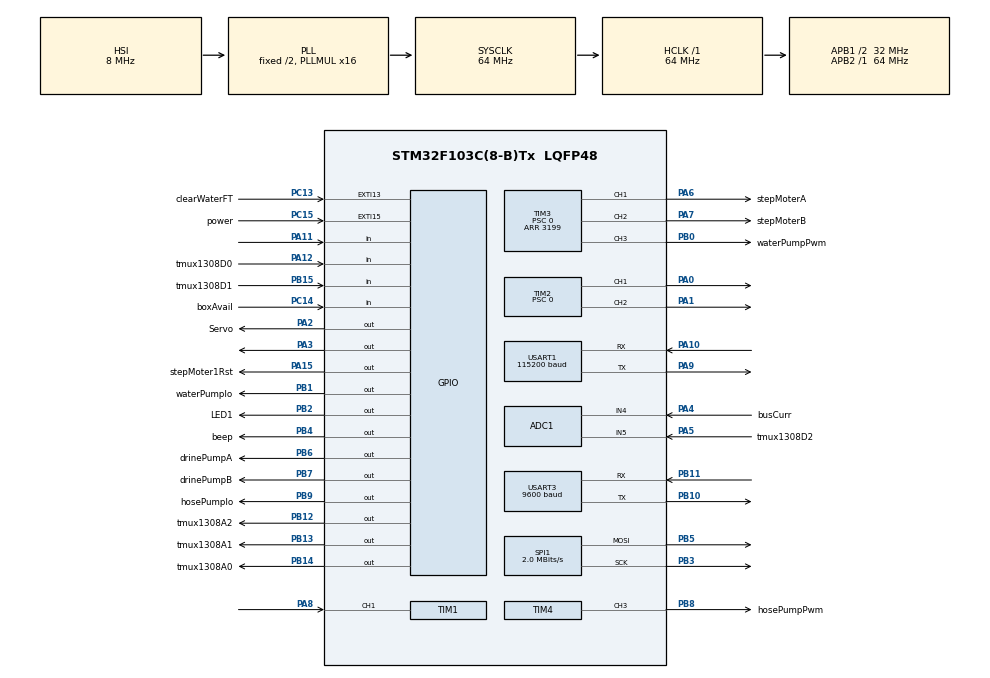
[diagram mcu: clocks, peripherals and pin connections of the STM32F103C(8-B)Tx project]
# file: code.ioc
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ADC1.Channel-1\#ChannelRegularConversion=ADC_CHANNEL_4
ADC1.Channel-3\#ChannelInjectedConversion=ADC_CHANNEL_5
ADC1.EnableInjectedConversion=ENABLE
ADC1.InjNumberOfConversion=1
ADC1.InjectedOffset-3\#ChannelInjectedConversion=0
ADC1.InjectedRank-3\#ChannelInjectedConversion=1
ADC1.NbrOfConversion=1
ADC1.NbrOfConversionFlag=1
ADC1.Rank-1\#ChannelRegularConversion=1
ADC1.SamplingTime-1\#ChannelRegularConversion=ADC_SAMPLETIME_239CYCLES_5
ADC1.SamplingTime-3\#ChannelInjectedConversion=ADC_SAMPLETIME_239CYCLES_5
ADC1.master=1
Dma.Request0=SPI1_TX
Dma.Request1=USART1_RX
Dma.SPI1_TX.0.Direction=DMA_MEMORY_TO_PERIPH
Dma.SPI1_TX.0.Instance=DMA1_Channel3
Dma.SPI1_TX.0.MemDataAlignment=DMA_MDATAALIGN_BYTE
Dma.SPI1_TX.0.MemInc=DMA_MINC_ENABLE
Dma.SPI1_TX.0.Mode=DMA_NORMAL
Dma.SPI1_TX.0.PeriphDataAlignment=DMA_PDATAALIGN_BYTE
Dma.SPI1_TX.0.PeriphInc=DMA_PINC_DISABLE
Dma.SPI1_TX.0.Priority=DMA_PRIORITY_LOW
Dma.USART1_RX.1.Direction=DMA_PERIPH_TO_MEMORY
Dma.USART1_RX.1.Instance=DMA1_Channel5
Dma.USART1_RX.1.MemDataAlignment=DMA_MDATAALIGN_BYTE
Dma.USART1_RX.1.MemInc=DMA_MINC_ENABLE
Dma.USART1_RX.1.Mode=DMA_NORMAL
Dma.USART1_RX.1.PeriphDataAlignment=DMA_PDATAALIGN_BYTE
Dma.USART1_RX.1.PeriphInc=DMA_PINC_DISABLE
Dma.USART1_RX.1.Priority=DMA_PRIORITY_LOW
Mcu.Family=STM32F1
Mcu.Name=STM32F103C(8-B)Tx
Mcu.Package=LQFP48
NVIC.DMA1_Channel3_IRQn=true\:0\:0\:false\:false\:true\:false\:true
NVIC.DMA1_Channel5_IRQn=true\:0\:0\:false\:false\:true\:false\:true
NVIC.EXTI15_10_IRQn=true\:6\:0\:true\:false\:true\:true\:true
NVIC.PriorityGroup=NVIC_PRIORITYGROUP_4
NVIC.TIM1_CC_IRQn=true\:7\:0\:true\:false\:true\:true\:true
NVIC.TIM2_IRQn=true\:4\:0\:true\:false\:true\:true\:true
NVIC.TIM3_IRQn=true\:5\:0\:true\:false\:true\:true\:true
NVIC.TIM4_IRQn=true\:0\:0\:false\:false\:true\:true\:true
NVIC.USART1_IRQn=true\:4\:0\:true\:false\:true\:true\:true
NVIC.USART3_IRQn=true\:0\:0\:false\:false\:true\:true\:true
PA0-WKUP.Signal=S_TIM2_CH1_ETR
PA1.Signal=S_TIM2_CH2
PA10.Mode=Asynchronous
PA10.Signal=USART1_RX
PA11.Signal=GPIO_Input
PA12.GPIO_Label=tmux1308D0
PA12.Signal=GPIO_Input
PA13.Mode=Serial_Wire
PA13.Signal=SYS_JTMS-SWDIO
PA14.Mode=Serial_Wire
PA14.Signal=SYS_JTCK-SWCLK
PA15.GPIO_Label=stepMoter1Rst
PA15.GPIO_Speed=GPIO_SPEED_FREQ_HIGH
PA15.PinState=GPIO_PIN_SET
PA15.Signal=GPIO_Output
PA2.GPIO_Label=Servo
PA2.GPIO_Speed=GPIO_SPEED_FREQ_HIGH
PA2.PinState=GPIO_PIN_SET
PA2.Signal=GPIO_Output
PA3.Signal=GPIO_Output
PA4.GPIO_Label=busCurr
PA4.Signal=ADCx_IN4
PA5.GPIO_Label=tmux1308D2
PA5.Signal=ADCx_IN5
PA6.GPIO_Label=stepMoterA
PA6.GPIO_Speed=GPIO_SPEED_FREQ_HIGH
PA6.Signal=S_TIM3_CH1
PA7.GPIO_Label=stepMoterB
PA7.GPIO_Speed=GPIO_SPEED_FREQ_HIGH
PA7.Signal=S_TIM3_CH2
PA8.Signal=S_TIM1_CH1
PA9.Mode=Asynchronous
PA9.Signal=USART1_TX
PB0.GPIO_Label=waterPumpPwm
PB0.Signal=S_TIM3_CH3
PB1.GPIO_Label=waterPumpIo
PB1.GPIO_Speed=GPIO_SPEED_FREQ_HIGH
PB1.PinState=GPIO_PIN_SET
PB1.Signal=GPIO_Output
PB10.Mode=Asynchronous
PB10.Signal=USART3_TX
PB11.Mode=Asynchronous
PB11.Signal=USART3_RX
PB12.GPIO_Label=tmux1308A2
PB12.GPIO_Speed=GPIO_SPEED_FREQ_HIGH
PB12.PinState=GPIO_PIN_SET
PB12.Signal=GPIO_Output
PB13.GPIO_Label=tmux1308A1
PB13.GPIO_Speed=GPIO_SPEED_FREQ_HIGH
PB13.PinState=GPIO_PIN_SET
PB13.Signal=GPIO_Output
PB14.GPIO_Label=tmux1308A0
PB14.GPIO_Speed=GPIO_SPEED_FREQ_HIGH
PB14.PinState=GPIO_PIN_SET
PB14.Signal=GPIO_Output
PB15.GPIO_Label=tmux1308D1
PB15.Signal=GPIO_Input
PB2.GPIO_Label=LED1
PB2.GPIO_Speed=GPIO_SPEED_FREQ_HIGH
PB2.PinState=GPIO_PIN_SET
PB2.Signal=GPIO_Output
PB3.Mode=TX_Only_Simplex_Unidirect_Master
PB3.Signal=SPI1_SCK
PB4.GPIO_Label=beep
PB4.GPIO_ModeDefaultOutputPP=GPIO_MODE_OUTPUT_PP
PB4.GPIO_Speed=GPIO_SPEED_FREQ_HIGH
PB4.PinState=GPIO_PIN_SET
PB4.Signal=GPIO_Output
PB5.Mode=TX_Only_Simplex_Unidirect_Master
PB5.Signal=SPI1_MOSI
PB6.GPIO_Label=drinePumpA
PB6.GPIO_Speed=GPIO_SPEED_FREQ_HIGH
PB6.PinState=GPIO_PIN_SET
PB6.Signal=GPIO_Output
PB7.GPIO_Label=drinePumpB
PB7.GPIO_Speed=GPIO_SPEED_FREQ_HIGH
PB7.PinState=GPIO_PIN_SET
PB7.Signal=GPIO_Output
PB8.GPIO_Label=hosePumpPwm
PB8.GPIO_Speed=GPIO_SPEED_FREQ_HIGH
PB8.Signal=S_TIM4_CH3
PB9.GPIO_Label=hosePumpIo
PB9.GPIO_Speed=GPIO_SPEED_FREQ_HIGH
PB9.PinState=GPIO_PIN_SET
PB9.Signal=GPIO_Output
PC13-TAMPER-RTC.GPIO_Label=clearWaterFT
PC13-TAMPER-RTC.Signal=GPXTI13
PC14-OSC32_IN.GPIO_Label=boxAvail
PC14-OSC32_IN.Signal=GPIO_Input
PC15-OSC32_OUT.GPIO_Label=power
PC15-OSC32_OUT.Signal=GPXTI15
ProjectManager.HeapSize=0x200
ProjectManager.StackSize=0x400
ProjectManager.TargetToolchain=MDK-ARM V5.27
RCC.ADCPresc=RCC_ADCPCLK2_DIV6
RCC.AHBFreq_Value=64000000
RCC.APB1CLKDivider=RCC_HCLK_DIV2
RCC.APB1Freq_Value=32000000
RCC.APB1TimFreq_Value=64000000
RCC.APB2Freq_Value=64000000
RCC.APB2TimFreq_Value=64000000
RCC.HCLKFreq_Value=64000000
RCC.PLLMUL=RCC_PLL_MUL16
RCC.SYSCLKFreq_VALUE=64000000
RCC.SYSCLKSource=RCC_SYSCLKSOURCE_PLLCLK
RCC.USBFreq_Value=64000000
SH.ADCx_IN4.0=ADC1_IN4,IN4
SH.ADCx_IN5.0=ADC1_IN5,IN5
SH.S_TIM1_CH1.0=TIM1_CH1,Input_Capture1_from_TI1
SH.S_TIM2_CH1_ETR.0=TIM2_CH1,PWM Generation1 CH1
SH.S_TIM2_CH2.0=TIM2_CH2,PWM Generation2 CH2
SH.S_TIM3_CH1.0=TIM3_CH1,PWM Generation1 CH1
SH.S_TIM3_CH2.0=TIM3_CH2,PWM Generation2 CH2
SH.S_TIM3_CH3.0=TIM3_CH3,PWM Generation3 CH3
SH.S_TIM4_CH3.0=TIM4_CH3,PWM Generation3 CH3
SPI1.BaudRatePrescaler=SPI_BAUDRATEPRESCALER_32
SPI1.CalculateBaudRate=2.0 MBits/s
SPI1.Direction=SPI_DIRECTION_2LINES
SPI1.Mode=SPI_MODE_MASTER
SPI1.VirtualType=VM_MASTER
TIM1.Channel-Input_Capture1_from_TI1=TIM_CHANNEL_1
TIM1.ICFilter_CH1=4
TIM2.AutoReloadPreload=TIM_AUTORELOAD_PRELOAD_ENABLE
TIM2.Channel-PWM\ Generation1\ CH1=TIM_CHANNEL_1
TIM2.Channel-PWM\ Generation2\ CH2=TIM_CHANNEL_2
TIM2.Period=3199
TIM2.Prescaler=0
TIM3.Channel-PWM\ Generation1\ CH1=TIM_CHANNEL_1
TIM3.Channel-PWM\ Generation2\ CH2=TIM_CHANNEL_2
TIM3.Channel-PWM\ Generation3\ CH3=TIM_CHANNEL_3
TIM3.Period=3199
TIM3.Prescaler=0
TIM4.Channel-PWM\ Generation3\ CH3=TIM_CHANNEL_3
TIM4.Period=100-1
TIM4.Prescaler=64-1
USART1.BaudRate=115200
USART1.VirtualMode=VM_ASYNC
USART3.BaudRate=9600
USART3.VirtualMode=VM_ASYNC
VP_CRC_VS_CRC.Mode=CRC_Activate
VP_TIM1_VS_ClockSourceINT.Mode=Internal
VP_TIM2_VS_ClockSourceINT.Mode=Internal
VP_TIM3_VS_ClockSourceINT.Mode=Internal
VP_TIM4_VS_ClockSourceINT.Mode=Internal
board=custom

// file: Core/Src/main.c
/* USER CODE BEGIN Header */
/**
  ******************************************************************************
  * @file           : main.c
  * @brief          : Main program body
  ******************************************************************************
  * @attention
  *
  * <h2><center>&copy; Copyright (c) 2026 STMicroelectronics.
  * All rights reserved.</center></h2>
  *
  * This software component is licensed by ST under BSD 3-Clause license,
  * the "License"; You may not use this file except in compliance with the
  * License. You may obtain a copy of the License at:
  *                        opensource.org/licenses/BSD-3-Clause
  *
  ******************************************************************************
  */
/* USER CODE END Header */
#include "main.h"
#include "adc.h"
#include "crc.h"
#include "dma.h"
#include "spi.h"
#include "tim.h"
#include "usart.h"
#include "gpio.h"

/* USER CODE BEGIN Includes */
#include "AT8236.h"
#include "ws2812.h"
#include "tmux1308.h"
#include "Current.h"
#include "BusVol.h"
#include "Tempurature.h"
#include "stepMoter.h"
#include "StepperPulse57_8412.h"
#include "uln2803.h"
#include "memoryPool.h"
#include "PulseTurns.h"
#include "taskScheme.h"
#include "crc16.h"
#include "string.h"
#include "stdio.h"
#include "servo.h"
#include "led.h"
#include "moveFilter.h"
/* USER CODE END Includes */

/* USER CODE BEGIN PTD */

volatile	uint32_t timeTick=0;
volatile  uint32_t task1msTick=0;
volatile  uint32_t task10msTick=0;
volatile  uint32_t task30msTick=0;
volatile  uint32_t task50msTick=0;
volatile  uint32_t task200msTick=0;
volatile  uint32_t task1000msTick=0;
volatile 	float current;
volatile 	float busvol;
volatile 	float temper;
volatile 	float testTurns;

extern uint8_t highBroadOrder[2];
extern uint8_t lowBroadOrder[6];
extern uint8_t recDateBuffer[10];

static void parseParam(uint8_t *data, CommandParam_t *param);

extern uint8_t recDate[10];

/* USER CODE END PTD */

/* USER CODE BEGIN PM */
//uint8_t  testDate[]={0x34,0x45,0x56,0x23,0x34,0x45,0x56,0x23,0x34,0x45,0x56,0x23};

static void task1ms(void);
static void task10ms(void);
static void task30ms(void);
static void task50ms(void);
static void task200ms(void);
static void task1000ms(void);
static void highVolBroadDateReTrans(void);
int ishighVolData=0;
/* USER CODE END PM */

void SystemClock_Config(void);

int main(void)
{

  /* MCU Configuration--------------------------------------------------------*/

  /* Reset of all peripherals, Initializes the Flash interface and the Systick. */
  HAL_Init();

  /* Configure the system clock */
  SystemClock_Config();

  /* Initialize all configured peripherals */
  MX_GPIO_Init();
  MX_USART1_UART_Init();
  MX_ADC1_Init();
  MX_SPI1_Init();
  MX_TIM1_Init();
  MX_TIM3_Init();
  MX_TIM4_Init();
  MX_USART3_UART_Init();
  MX_DMA_Init();
  MX_TIM2_Init();
  MX_CRC_Init();
  /* USER CODE BEGIN 2 */

	if (HAL_SYSTICK_Config(SystemCoreClock / 1000) != HAL_OK)
	{
			Error_Handler();
	}
	HAL_NVIC_SetPriority(SysTick_IRQn, 0, 0);

	pulseTurnsInit();

	WS2812_Init();
	WS2812_SetColor(0,255,255,255);
	WS2812_SetColor(1,255,255,255);
	WS2812_SetColor(2,255,255,255);
	WS2812_SetColor(3,255,255,255);
	WS2812_Show();

	HAL_GPIO_WritePin(beep_GPIO_Port,beep_Pin,0);
	HAL_GPIO_WritePin(LED1_GPIO_Port, LED1_Pin, 0);
	HAL_GPIO_WritePin(stepMoter1Rst_GPIO_Port, stepMoter1Rst_Pin, 1);

	HAL_UART_Receive_IT(&huart1, recDate, sizeof(recDate));
	HAL_UART_Receive_IT(&huart3, highBroadOrder, sizeof(highBroadOrder));

	HAL_TIM_Base_Start_IT(&htim4);
	stepMoterStart(); /* 内部已调 StepperPulse57_Init() */
	moter28Start();
	brinePumpOff();
	hosePumpOff();
	waterPumpOff();
	riseMoterDown();
	valveOff();
	stepMoterStop();
	ledOn();
	HAL_Delay(10000);
	versionSync();
	//stepMoterUp(150);
  /* USER CODE END 2 */

  /* Infinite loop */
  /* USER CODE BEGIN WHILE */

	StepperPulse57_8412_RunAtSpeed(3000, 80, 20000, 15);
  servoUp(1000);

  while(1)
  {
    /* USER CODE END WHILE */

    /* USER CODE BEGIN 3 */
    /* 1ms 高优先级任务：独立判断，确保主机指令延迟 */
    if(timeTick - task1msTick >= 1)
    {
        task1msTick = timeTick;  // 注意：这里记录的是执行时刻，不是"下一次到期时"
        // 执行 1ms 主机指令（这里务必保证代码执行时
        //�?关阀�?关检�?
				task1ms();
    }

    /*  1ms 任务：每次主循环只执行其中最近到期的 */
    uint32_t minDiff = 0xFFFFFFFF;
    uint8_t selectedTask = 0;

    // 找出有到期任务中
    if(timeTick - task10msTick >= 10)   { minDiff = timeTick - task10msTick; selectedTask = 1; }
    if(timeTick - task30msTick >= 30)   { if((timeTick - task30msTick) < minDiff) { minDiff = timeTick - task30msTick; selectedTask = 2; }}
    if(timeTick - task50msTick >= 50)   { if((timeTick - task50msTick) < minDiff) { minDiff = timeTick - task50msTick; selectedTask = 3; }}
    if(timeTick - task200msTick >= 200) { if((timeTick - task200msTick) < minDiff) { minDiff = timeTick - task200msTick; selectedTask = 4; }}
		if(timeTick - task1000msTick>= 1000){ if((timeTick - task1000msTick)< minDiff) { minDiff = timeTick - task1000msTick; selectedTask = 5; }}

    switch(selectedTask)
    {
        case 1: task10msTick = timeTick;
								task10ms();
								break;
        case 2: task30msTick = timeTick; /* 20ms 任务 */
								task30ms();
								break;
        case 3: task50msTick = timeTick; /* 50ms 任务 */
								task50ms();
								break;
        case 4: task200msTick = timeTick; /* 200ms 任务 */
								task200ms();
								break;
        case 5: task1000msTick = timeTick; /* 1000ms 任务 */
								task1000ms();
								break;
        default: break; // 没有任务到期
    }
  }
  /* USER CODE END 3 */
}

void SystemClock_Config(void)
{
  RCC_OscInitTypeDef RCC_OscInitStruct = {0};
  RCC_ClkInitTypeDef RCC_ClkInitStruct = {0};
  RCC_PeriphCLKInitTypeDef PeriphClkInit = {0};

  /** Initializes the RCC Oscillators according to the specified parameters
  * in the RCC_OscInitTypeDef structure.
  */
  RCC_OscInitStruct.OscillatorType = RCC_OSCILLATORTYPE_HSI;
  RCC_OscInitStruct.HSIState = RCC_HSI_ON;
  RCC_OscInitStruct.HSICalibrationValue = RCC_HSICALIBRATION_DEFAULT;
  RCC_OscInitStruct.PLL.PLLState = RCC_PLL_ON;
  RCC_OscInitStruct.PLL.PLLSource = RCC_PLLSOURCE_HSI_DIV2;
  RCC_OscInitStruct.PLL.PLLMUL = RCC_PLL_MUL16;
  if (HAL_RCC_OscConfig(&RCC_OscInitStruct) != HAL_OK)
  {
    Error_Handler();
  }
  /** Initializes the CPU, AHB and APB buses clocks
  */
  RCC_ClkInitStruct.ClockType = RCC_CLOCKTYPE_HCLK|RCC_CLOCKTYPE_SYSCLK
                              |RCC_CLOCKTYPE_PCLK1|RCC_CLOCKTYPE_PCLK2;
  RCC_ClkInitStruct.SYSCLKSource = RCC_SYSCLKSOURCE_PLLCLK;
  RCC_ClkInitStruct.AHBCLKDivider = RCC_SYSCLK_DIV1;
  RCC_ClkInitStruct.APB1CLKDivider = RCC_HCLK_DIV2;
  RCC_ClkInitStruct.APB2CLKDivider = RCC_HCLK_DIV1;

  if (HAL_RCC_ClockConfig(&RCC_ClkInitStruct, FLASH_LATENCY_2) != HAL_OK)
  {
    Error_Handler();
  }
  PeriphClkInit.PeriphClockSelection = RCC_PERIPHCLK_ADC;
  PeriphClkInit.AdcClockSelection = RCC_ADCPCLK2_DIV6;
  if (HAL_RCCEx_PeriphCLKConfig(&PeriphClkInit) != HAL_OK)
  {
    Error_Handler();
  }
}

/* USER CODE BEGIN 4 */
void ledTest(void)
{
    static uint8_t i = 0;

    uint8_t color[4][3] =
    {
       {255,0,0},{0,255,0},{0,0,255},{255,255,255}
    };

    for(uint8_t j = 0; j < 5; j++)
    {
      WS2812_SetColor(j,color[i][0],color[i][1],color[i][2]);
    }
    WS2812_Show();
    i++;
    if(i >= 4)
    {
       i = 0;
    }
}
int servoCnt=0;
int moter28Dir=0;
int pumpCnt;
int aliveTick=0;
void HAL_TIM_PeriodElapsedCallback(TIM_HandleTypeDef *htim)
{
    if(htim->Instance==TIM2)
    {
        moter28step(moter28Dir);
    }
    if(htim->Instance==TIM3)
    {
        StepperPulse57_8412_Tick();
    }
    if(htim->Instance==TIM4)
    {
			aliveTick++;
			if(aliveTick<100)
			{
				HAL_GPIO_WritePin(GPIOA,GPIO_PIN_3,GPIO_PIN_SET);
			}
			else if((aliveTick>=100)&&aliveTick<=200)
			{
				HAL_GPIO_WritePin(GPIOA,GPIO_PIN_3,GPIO_PIN_RESET);
			}
			else if(aliveTick>200)
			{
				aliveTick=0;
			}
				if(hosePumpFlag==1)
				{
					pumpCnt++;
					if(pumpCnt>3000)
					{
						pumpCnt=0;
						TIM4->CCR3--;
						if(TIM4->CCR3<hosePumpOnSpeed)
						{
							hosePumpFlag=0;
						}
					}
				}
#if ServoRise==1
        servoCnt++;

        /* 浮点渐变：每次回调推进servoStepSize */
        if(servoCurCnt < servoDesCnt) {
            servoCurCnt += servoStepSize;
            if(servoCurCnt > servoDesCnt) servoCurCnt = servoDesCnt;  /* 防止过冲 */
        } else if(servoCurCnt > servoDesCnt) {
            servoCurCnt -= servoStepSize;
            if(servoCurCnt < servoDesCnt) servoCurCnt = servoDesCnt;  /* 防止过冲 */
        }

        /* PWM输出取整数部�? */
        if(servoCnt<200&&servoCnt>(int)servoCurCnt)
        {
            HAL_GPIO_WritePin(Servo_GPIO_Port,Servo_Pin,GPIO_PIN_RESET);
        }
        if(servoCnt>199)
        {
            HAL_GPIO_WritePin(Servo_GPIO_Port,Servo_Pin,GPIO_PIN_SET);
            servoCnt=0;
        }
#else
			riseTick();
#endif
    }
}

void highVolBroadDateReTrans(void)
{
	static int reTransNum=3;
	if(ishighVolData==1)
	{
		HAL_UART_Transmit(&huart3,&highBroadOrder[0],sizeof(char),0x0f);
		reTransNum--;
	}
	if(reTransNum<0)
	{
		reTransNum=3;
		ishighVolData=0;
	}
}

void highVolBroad(void)
{
	highBroadOrder[0]=lowBroadOrder[1];
	highBroadOrder[1]=lowBroadOrder[2];
	HAL_UART_Transmit(&huart3,&highBroadOrder[0],sizeof(char),0x0f);
	ishighVolData=1;
}
static void parseParam(uint8_t *data, CommandParam_t *param)
{
    for(int i = 0; i < 8; i++)
    {
        param->para[i] = data[i + 1];
    }
}

void task1ms(void)
{

	//�?关阀是否到位
}
void task10ms(void)
{
		CommandParam_t param;
		parseParam(lowBroadOrder, &param);
		commandExecute(lowBroadOrder[0], &param);
		memset(lowBroadOrder,0x00,sizeof(lowBroadOrder));
		StepperPulse57_8412_RampUpdate();
}
void task30ms(void)
{
		highVolBroadDateReTrans();
		getTmux1308Data();
		dataPoolUpdate();

		valveDect();
		dataSync();
		riseRunDec();
}
void task50ms(void)
{
		pulseTurnsGet();
}

void task200ms(void)
{
	//ledTest();
	temper=filter(calTemp());

}

int i=0;
void task1000ms(void)
{

}

/* USER CODE END 4 */

void Error_Handler(void)
{
  __disable_irq();
  while (1)
  {
  }
}

/************************ (C) COPYRIGHT STMicroelectronics *****END OF FILE****/
